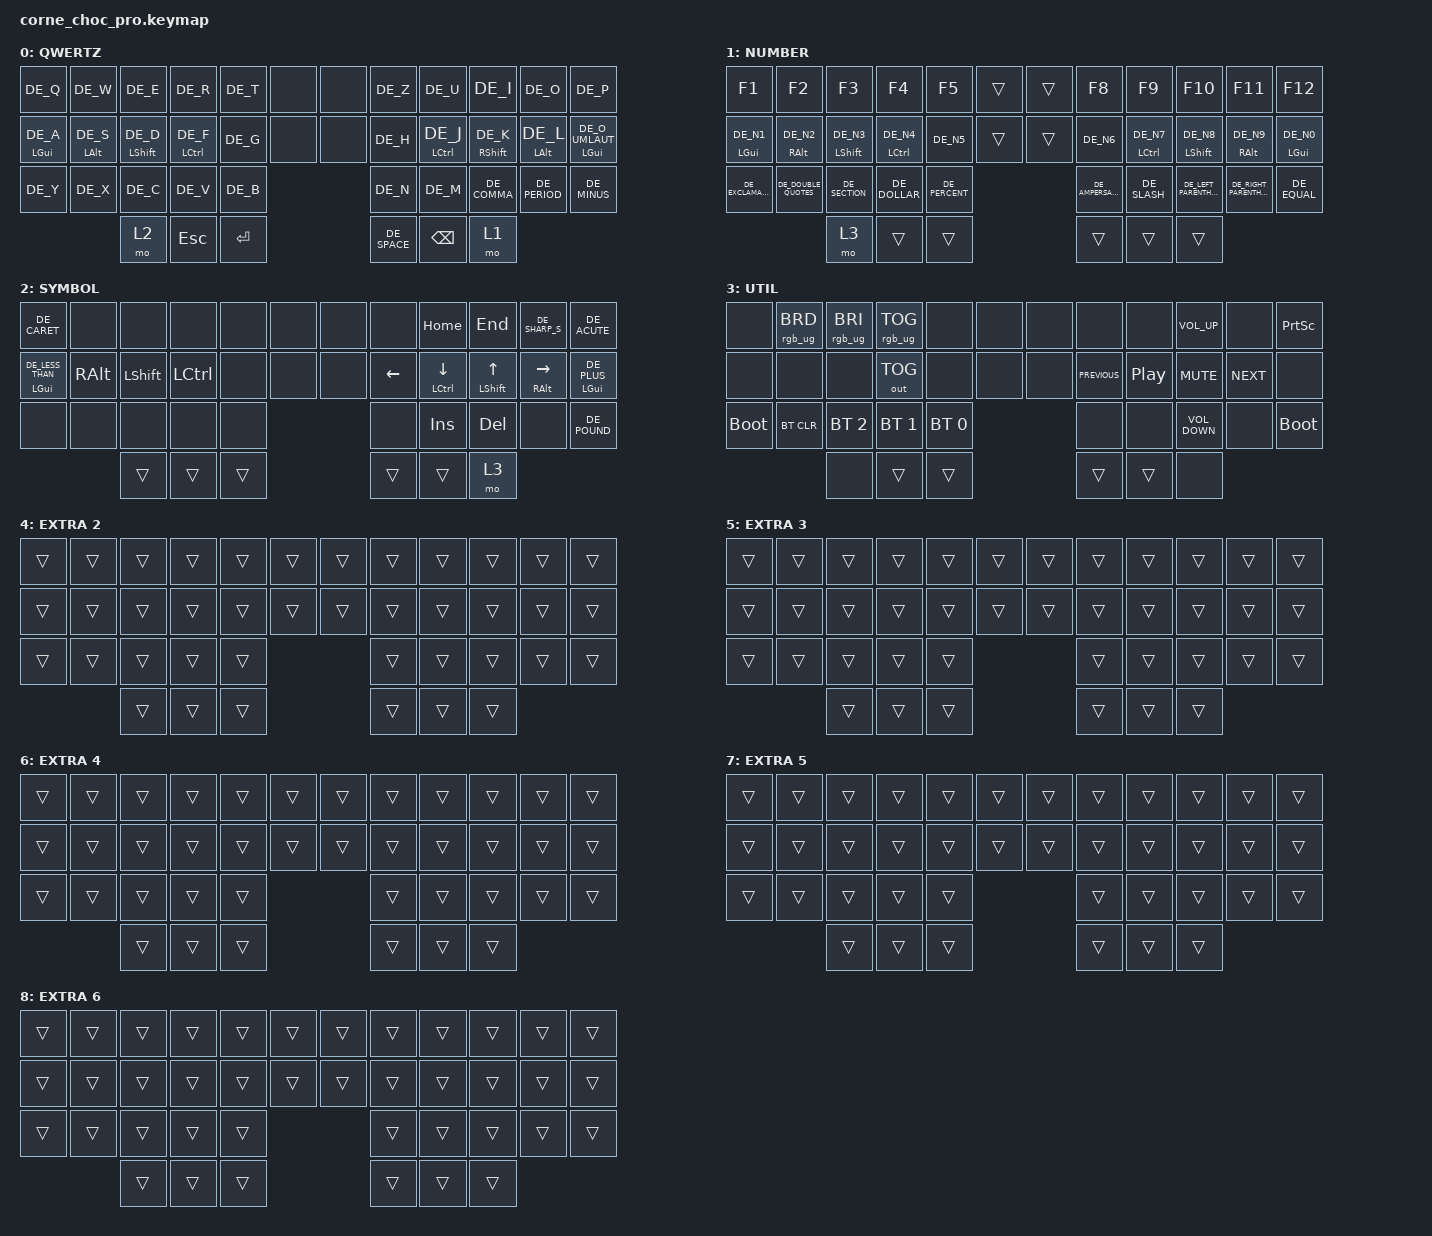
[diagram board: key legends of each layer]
/*
 * Copyright (c) 2020 The ZMK Contributors
 *
 * SPDX-License-Identifier: MIT
 */

#include <behaviors.dtsi>
#include <dt-bindings/zmk/bt.h>
#include <dt-bindings/zmk/keys.h>
#include <dt-bindings/zmk/outputs.h>
#include <dt-bindings/zmk/rgb.h>
#include "keys_de.h"

#define COMBO_TIMEOUT_MS 40
#define COMBO_TAB_TIMEOUT_MS 100
#define HOMEROW_QUICK_TAP_MS 180

/ {
    chosen { zmk,physical-layout = &five_col_layout; };
};

/ {
    behaviors {
        homerowModL: homerowModL {
            compatible = "zmk,behavior-hold-tap";
            label = "HOMEROWMODL";
            bindings = <&kp>, <&kp>;

            #binding-cells = <2>;
            tapping-term-ms = <180>;
            flavor = "hold-preferred";
            quick-tap-ms = <HOMEROW_QUICK_TAP_MS>;
            hold-trigger-key-positions = <29 19 7 8 20 30 31 21 9 10 22 32 33 11 23 8 9 10 11 20 21 22 23 30 31 32 33 38 37 36 35 13 14 15 12 34 39>;
        };

        homerowModR: homerowModR {
            compatible = "zmk,behavior-hold-tap";
            label = "HOMEROWMODR";
            bindings = <&kp>, <&kp>;

            #binding-cells = <2>;
            tapping-term-ms = <180>;
            quick-tap-ms = <HOMEROW_QUICK_TAP_MS>;
            hold-trigger-key-positions = <0 1 2 3 4 12 13 14 15 16 24 25 26 27 28 36 37 38 35 20 21 23 22 34 39>;
            flavor = "hold-preferred";
        };
    };

    combos {
        compatible = "zmk,combos";

        Layer3 {
            bindings = <&mo 3>;
            key-positions = <34 39>;
            require-prior-idle-ms = <500>;
            timeout-ms = <COMBO_TIMEOUT_MS>;
        };

        tab {
            bindings = <&kp TAB>;
            key-positions = <36 37>;
            timeout-ms = <COMBO_TAB_TIMEOUT_MS>;
        };

        ae {
            bindings = <&kp DE_A_UMLAUT>;
            key-positions = <12 2>;
            timeout-ms = <COMBO_TIMEOUT_MS>;
        };

        ue {
            bindings = <&kp DE_U_UMLAUT>;
            key-positions = <8 2>;
            timeout-ms = <COMBO_TIMEOUT_MS>;
        };

        oe {
            bindings = <&kp DE_O_UMLAUT>;
            key-positions = <10 2>;
            timeout-ms = <COMBO_TIMEOUT_MS>;
        };
    };

    keymap {
        compatible = "zmk,keymap";

        default_layer {
            display-name = "QWERTZ";

            // --------------------------------------------------------------------------------
            // |  TAB |  Q  |  W  |  E  |  R  |  T  |  MUTE |  PP   |  Y  |  U   |  I  |  O  |  P  | BSPC |
            // | CTRL |  A  |  S  |  D  |  F  |  G  |  LALT |  RALT |  H  |  J   |  K  |  L  |  ;  |  '   |
            // | SHFT |  Z  |  X  |  C  |  V  |  B  |               |  N  |  M   |  ,  |  .  |  /  | ESC  |
            //                    | GUI | LWR | SPC |               | ENT | RSE  | ALT |

            bindings = <
  &kp DE_Q                    &kp DE_W                    &kp DE_E                      &kp DE_R                 &kp DE_T   &none  &none  &kp DE_Z      &kp DE_U                        &kp DE_I                       &kp DE_O                    &kp DE_P
  &homerowModL LEFT_GUI DE_A  &homerowModL LEFT_ALT DE_S  &homerowModL LEFT_SHIFT DE_D  &homerowModL LCTRL DE_F  &kp DE_G   &none  &none  &kp DE_H      &homerowModR LEFT_CONTROL DE_J  &homerowModR RIGHT_SHIFT DE_K  &homerowModR LEFT_ALT DE_L  &homerowModR LEFT_GUI DE_O_UMLAUT
  &kp DE_Y                    &kp DE_X                    &kp DE_C                      &kp DE_V                 &kp DE_B                 &kp DE_N      &kp DE_M                        &kp DE_COMMA                   &kp DE_PERIOD               &kp DE_MINUS
                                                          &mo 2                         &kp ESCAPE               &kp ENTER                &kp DE_SPACE  &kp BACKSPACE                   &mo 1
            >;
        };

        lower_layer {
            display-name = "NUMBER";

            // -----------------------------------------------------------------------------------------
            // |  TAB |  1  |  2  |  3  |  4  |  5    |  LCTRL | RCTRL |  6  |  7  |  8  |  9  |  0  | BSPC |
            // | CTRL | BT1 | BT2 | BT3 | BT4 | BT5   |  LALT  | RALT  | LFT | DWN |  UP | RGT |     |      |
            // | SHFT | BTCR| RGB | RST | BOOT| Unlock|        |       |     |     |     |     |     |      |
            //                    | GUI |     | SPC   |        | ENT   |     | ALT |

            bindings = <
  &kp F1                       &kp F2                        &kp F3                         &kp F4                    &kp F5          &trans  &trans  &kp F8            &kp F9                    &kp F10                        &kp F11                       &kp F12
  &homerowModL LEFT_GUI DE_N1  &homerowModL RIGHT_ALT DE_N2  &homerowModL LEFT_SHIFT DE_N3  &homerowModL LCTRL DE_N4  &kp DE_N5       &trans  &trans  &kp DE_N6         &homerowModR LCTRL DE_N7  &homerowModR LEFT_SHIFT DE_N8  &homerowModR RIGHT_ALT DE_N9  &homerowModR LEFT_GUI DE_N0
  &kp DE_EXCLAMATION           &kp DE_DOUBLE_QUOTES          &kp DE_SECTION                 &kp DE_DOLLAR             &kp DE_PERCENT                  &kp DE_AMPERSAND  &kp DE_SLASH              &kp DE_LEFT_PARENTHESIS        &kp DE_RIGHT_PARENTHESIS      &kp DE_EQUAL
                                                             &mo 3                          &trans                    &trans                          &trans            &trans                    &trans
            >;
        };

        raise_layer {
            display-name = "SYMBOL";

            // -----------------------------------------------------------------------------------------
            // |  TAB |  !  |  @  |  #  |  $  |  %  | LCTRL | RCTRL |  ^  |  &  |  *  |  (  |  )  | BSPC |
            // | CTRL |     |     |     |     |     |  LALT | RALT  |  -  |  =  |  [  |  ]  |  \  |  `   |
            // | SHFT |     |     |     |     |     |               |  _  |  +  |  {  |  }  | "|" |  ~   |
            //                    | GUI |     | SPC |               | ENT |     | ALT |

            bindings = <
  &kp DE_CARET                        &none          &none           &none             &none   &none  &none  &none           &kp HOME                       &kp END                     &kp DE_SHARP_S                &kp DE_ACUTE
  &homerowModL LEFT_GUI DE_LESS_THAN  &kp RIGHT_ALT  &kp LEFT_SHIFT  &kp LEFT_CONTROL  &none   &none  &none  &kp LEFT_ARROW  &homerowModR LCTRL DOWN_ARROW  &homerowModR LEFT_SHIFT UP  &homerowModR RIGHT_ALT RIGHT  &homerowModR LEFT_GUI DE_PLUS
  &none                               &none          &none           &none             &none                 &none           &kp INSERT                     &kp DELETE                  &none                         &kp DE_POUND
                                                     &trans          &trans            &trans                &trans          &trans                         &mo 3
            >;
        };

        Utility {
            display-name = "UTIL";
            bindings = <
  &none        &rgb_ug RGB_BRD  &rgb_ug RGB_BRI  &rgb_ug RGB_TOG  &none         &none  &none  &none           &none     &kp C_VOLUME_UP    &none       &kp PRINTSCREEN
  &none        &none            &none            &out OUT_TOG     &none         &none  &none  &kp C_PREVIOUS  &kp C_PP  &kp C_MUTE         &kp C_NEXT  &none
  &bootloader  &bt BT_CLR       &bt BT_SEL 2     &bt BT_SEL 1     &bt BT_SEL 0                &none           &none     &kp C_VOLUME_DOWN  &none       &bootloader
                                &none            &trans           &trans                      &trans          &trans    &none
            >;
        };

        extra_layer_2 {
            display-name = "EXTRA 2";
            bindings = <
  &trans  &trans  &trans  &trans  &trans  &trans  &trans  &trans  &trans  &trans  &trans  &trans
  &trans  &trans  &trans  &trans  &trans  &trans  &trans  &trans  &trans  &trans  &trans  &trans
  &trans  &trans  &trans  &trans  &trans                  &trans  &trans  &trans  &trans  &trans
                  &trans  &trans  &trans                  &trans  &trans  &trans
            >;
        };

        extra_layer_3 {
            display-name = "EXTRA 3";
            bindings = <
  &trans  &trans  &trans  &trans  &trans  &trans  &trans  &trans  &trans  &trans  &trans  &trans
  &trans  &trans  &trans  &trans  &trans  &trans  &trans  &trans  &trans  &trans  &trans  &trans
  &trans  &trans  &trans  &trans  &trans                  &trans  &trans  &trans  &trans  &trans
                  &trans  &trans  &trans                  &trans  &trans  &trans
            >;
        };

        extra_layer_4 {
            display-name = "EXTRA 4";
            bindings = <
  &trans  &trans  &trans  &trans  &trans  &trans  &trans  &trans  &trans  &trans  &trans  &trans
  &trans  &trans  &trans  &trans  &trans  &trans  &trans  &trans  &trans  &trans  &trans  &trans
  &trans  &trans  &trans  &trans  &trans                  &trans  &trans  &trans  &trans  &trans
                  &trans  &trans  &trans                  &trans  &trans  &trans
            >;
        };

        extra_layer_5 {
            display-name = "EXTRA 5";
            bindings = <
  &trans  &trans  &trans  &trans  &trans  &trans  &trans  &trans  &trans  &trans  &trans  &trans
  &trans  &trans  &trans  &trans  &trans  &trans  &trans  &trans  &trans  &trans  &trans  &trans
  &trans  &trans  &trans  &trans  &trans                  &trans  &trans  &trans  &trans  &trans
                  &trans  &trans  &trans                  &trans  &trans  &trans
            >;
        };

        extra_layer_6 {
            display-name = "EXTRA 6";
            bindings = <
  &trans  &trans  &trans  &trans  &trans  &trans  &trans  &trans  &trans  &trans  &trans  &trans
  &trans  &trans  &trans  &trans  &trans  &trans  &trans  &trans  &trans  &trans  &trans  &trans
  &trans  &trans  &trans  &trans  &trans                  &trans  &trans  &trans  &trans  &trans
                  &trans  &trans  &trans                  &trans  &trans  &trans
            >;
        };
    };
};
